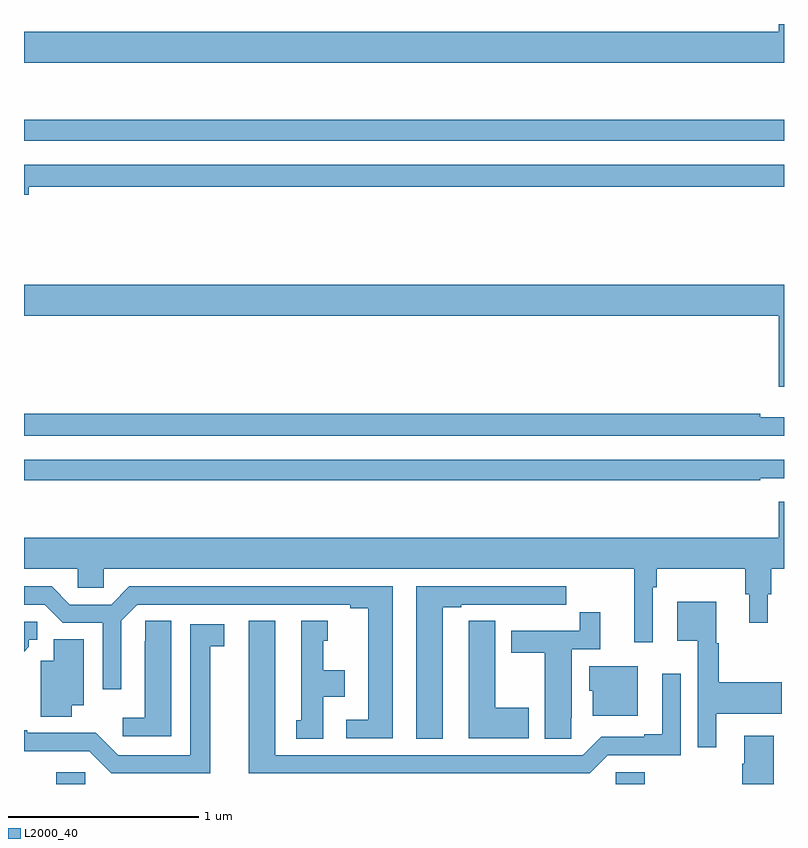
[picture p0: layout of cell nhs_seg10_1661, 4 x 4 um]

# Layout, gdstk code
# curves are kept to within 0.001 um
import gdstk
lib = gdstk.Library(unit=1e-6, precision=1e-09)
def R(c, l, rs):  # rectangles x0, y0, x1, y1
    for r in rs: c.add(gdstk.rectangle(r[:2], r[2:], *l))
def P(c, l, *ps):  # polygons
    for p in ps: c.add(gdstk.Polygon(p, *l))
L2000_40 = (2000, 40)

nhs_seg10_1661 = lib.new_cell('nhs_seg10_1661')
R(nhs_seg10_1661, L2000_40, [(197.171,1316.5,197.322,1316.562), (200.115,1316.5,200.267,1316.562), (197,1319.886,201,1319.995)])
P(nhs_seg10_1661, L2000_40, [(201,1320.5),(200.972,1320.5),(200.972,1320.46),(197,1320.46),(197,1320.296),(201,1320.296)],
  [(197.026,1319.644),(201,1319.644),(201,1319.76),(197,1319.76),(197,1319.602),(197.026,1319.602)],
  [(201,1319.128),(197,1319.128),(197,1318.964),(200.972,1318.964),(200.972,1318.59),(201,1318.59)],
  [(201,1318.429),(200.876,1318.429),(200.876,1318.448),(197,1318.448),(197,1318.332),(201,1318.332)],
  [(200.876,1318.11),(201,1318.11),(201,1318.206),(197,1318.206),(197,1318.098),(200.876,1318.098)],
  [(200.31,1317.536),(200.33,1317.536),(200.33,1317.632),(200.797,1317.632),(200.797,1317.498),(200.816,1317.498),(200.816,1317.348),(200.914,1317.348),(200.914,1317.498),(200.933,1317.498),(200.933,1317.632),(201,1317.632),(201,1317.985),(200.972,1317.985),(200.972,1317.796),(197,1317.796),(197,1317.632),(197.283,1317.632),(197.283,1317.534),(197.421,1317.534),(197.421,1317.632),(200.213,1317.632),(200.213,1317.246),(200.31,1317.246)],
  [(199.204,1317.429),(199.3,1317.429),(199.3,1317.444),(199.576,1317.444),(199.576,1317.443),(199.742,1317.443),(199.742,1317.444),(199.855,1317.444),(199.855,1317.54),(199.064,1317.54),(199.064,1316.737),(199.204,1316.737)],
  [(198.94,1317.54),(197.555,1317.54),(197.459,1317.444),(197.241,1317.444),(197.145,1317.54),(197,1317.54),(197,1317.444),(197.109,1317.444),(197.205,1317.348),(197.415,1317.348),(197.415,1317),(197.511,1317),(197.511,1317.36),(197.595,1317.444),(198.716,1317.444),(198.716,1317.424),(198.812,1317.424),(198.812,1316.838),(198.696,1316.838),(198.696,1316.742),(198.94,1316.742)],
  [(200.644,1316.87),(200.989,1316.87),(200.989,1317.036),(200.656,1317.036),(200.656,1317.24),(200.644,1317.24),(200.644,1317.46),(200.438,1317.46),(200.438,1317.254),(200.547,1317.254),(200.547,1316.694),(200.644,1316.694)],
  [(199.881,1316.848),(199.882,1316.848),(199.882,1317.21),(200.033,1317.21),(200.033,1317.403),(199.924,1317.403),(199.924,1317.306),(199.565,1317.306),(199.565,1317.19),(199.742,1317.19),(199.742,1316.737),(199.881,1316.737)],
  [(197.776,1317.359),(197.637,1317.359),(197.637,1317.251),(197.636,1317.251),(197.636,1316.848),(197.52,1316.848),(197.52,1316.751),(197.776,1316.751)],
  [(199.657,1316.901),(199.48,1316.901),(199.48,1317.359),(199.341,1317.359),(199.341,1317.251),(199.34,1317.251),(199.34,1316.741),(199.657,1316.741)],
  [(198.574,1316.96),(198.688,1316.96),(198.688,1317.1),(198.574,1317.1),(198.574,1317.255),(198.598,1317.255),(198.598,1317.358),(198.458,1317.358),(198.458,1316.835),(198.434,1316.835),(198.434,1316.737),(198.574,1316.737)],
  [(200.073,1316.652),(200.457,1316.652),(200.457,1317.079),(200.36,1317.079),(200.36,1316.761),(200.264,1316.761),(200.264,1316.748),(200.037,1316.748),(199.941,1316.652),(198.322,1316.652),(198.322,1317.358),(198.182,1317.358),(198.182,1316.556),(199.977,1316.556)],
  [(197.026,1317.223),(197.026,1317.258),(197.071,1317.258),(197.071,1317.354),(197,1317.354),(197,1317.197)],
  [(197.98,1317.226),(198.055,1317.226),(198.055,1317.342),(197.876,1317.342),(197.876,1316.652),(197.496,1316.652),(197.378,1316.77),(197.017,1316.769),(197.017,1316.782),(197,1316.782),(197,1316.672),(197.343,1316.673),(197.46,1316.556),(197.98,1316.556)],
  [(197.251,1316.915),(197.314,1316.915),(197.314,1317.263),(197.156,1317.263),(197.156,1317.148),(197.087,1317.148),(197.087,1316.854),(197.251,1316.854)],
  [(200.23,1317.121),(199.976,1317.121),(199.976,1316.991),(199.994,1316.991),(199.994,1316.858),(200.23,1316.858)],
  [(200.945,1316.755),(200.792,1316.755),(200.792,1316.606),(200.78,1316.606),(200.78,1316.5),(200.945,1316.5)])

lib.write_gds('nhs_seg10_1661.gds')
